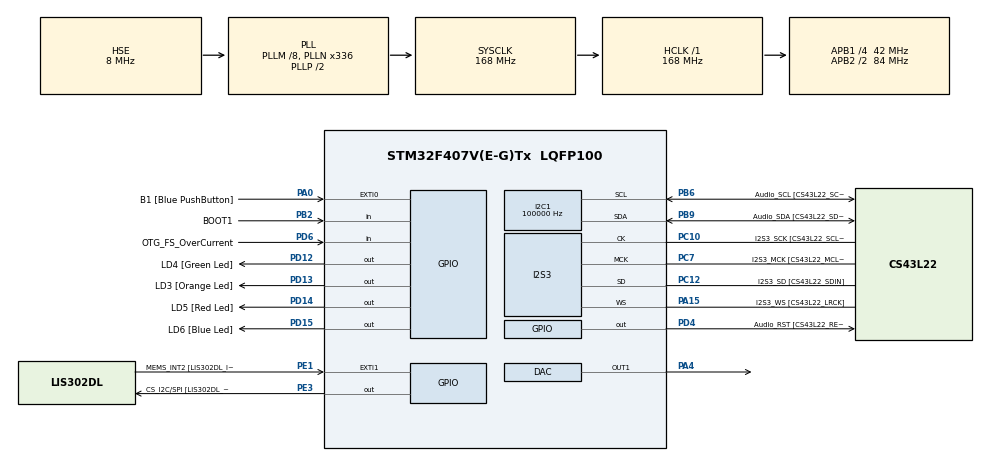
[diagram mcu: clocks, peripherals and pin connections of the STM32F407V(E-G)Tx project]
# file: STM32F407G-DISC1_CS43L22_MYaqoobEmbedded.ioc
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Dma.Request0=SPI3_TX
Dma.SPI3_TX.0.Direction=DMA_MEMORY_TO_PERIPH
Dma.SPI3_TX.0.FIFOMode=DMA_FIFOMODE_ENABLE
Dma.SPI3_TX.0.FIFOThreshold=DMA_FIFO_THRESHOLD_FULL
Dma.SPI3_TX.0.Instance=DMA1_Stream5
Dma.SPI3_TX.0.MemBurst=DMA_MBURST_SINGLE
Dma.SPI3_TX.0.MemDataAlignment=DMA_MDATAALIGN_HALFWORD
Dma.SPI3_TX.0.MemInc=DMA_MINC_ENABLE
Dma.SPI3_TX.0.Mode=DMA_CIRCULAR
Dma.SPI3_TX.0.PeriphBurst=DMA_PBURST_SINGLE
Dma.SPI3_TX.0.PeriphDataAlignment=DMA_PDATAALIGN_HALFWORD
Dma.SPI3_TX.0.PeriphInc=DMA_PINC_DISABLE
Dma.SPI3_TX.0.Priority=DMA_PRIORITY_LOW
I2C1.ClockSpeed=100000
I2C1.DualAddressMode=I2C_DUALADDRESS_DISABLE
I2C1.GeneralCallMode=I2C_GENERALCALL_DISABLE
I2C1.I2C_Mode=I2C_Standard
I2S3.AudioFreq=I2S_AUDIOFREQ_48K
I2S3.ErrorAudioFreq=1.72 %
I2S3.FullDuplexMode=I2S_FULLDUPLEXMODE_DISABLE
I2S3.Instance=SPI$Index
I2S3.RealAudioFreq=48.828 KHz
I2S3.VirtualMode=I2S_MODE_MASTER
Mcu.Family=STM32F4
Mcu.Name=STM32F407V(E-G)Tx
Mcu.Package=LQFP100
NVIC.DMA1_Stream5_IRQn=true\:0\:0\:false\:false\:true\:false\:false
NVIC.PriorityGroup=NVIC_PRIORITYGROUP_0
NVIC.TIM2_IRQn=true\:0\:0\:false\:false\:true\:true\:true
PA0-WKUP.GPIO_Label=B1 [Blue PushButton]
PA0-WKUP.GPIO_ModeDefaultEXTI=GPIO_MODE_EVT_RISING
PA0-WKUP.GPIO_PuPd=GPIO_NOPULL
PA0-WKUP.Signal=GPXTI0
PA13.GPIO_Label=SWDIO
PA13.Mode=Trace_Asynchronous_SW
PA13.Signal=SYS_JTMS-SWDIO
PA14.GPIO_Label=SWCLK
PA14.Mode=Trace_Asynchronous_SW
PA14.Signal=SYS_JTCK-SWCLK
PA15.GPIO_Label=I2S3_WS [CS43L22_LRCK]
PA15.GPIO_Mode=GPIO_MODE_AF_PP
PA15.GPIO_PuPd=GPIO_NOPULL
PA15.GPIO_Speed=GPIO_SPEED_FREQ_LOW
PA15.Mode=Half_Duplex_Master
PA15.Signal=I2S3_WS
PA4.Signal=COMP_DAC1_group
PB2.GPIO_Label=BOOT1
PB2.GPIO_Mode=GPIO_MODE_INPUT
PB2.GPIO_PuPd=GPIO_NOPULL
PB2.Signal=GPIO_Input
PB3.GPIO_Label=SWO
PB3.Mode=Trace_Asynchronous_SW
PB3.Signal=SYS_JTDO-SWO
PB6.GPIO_Label=Audio_SCL [CS43L22_SCL]
PB6.GPIO_Mode=GPIO_MODE_AF_OD
PB6.GPIO_PuPd=GPIO_NOPULL
PB6.GPIO_Speed=GPIO_SPEED_FREQ_LOW
PB6.Mode=I2C
PB6.Signal=I2C1_SCL
PB9.GPIO_Label=Audio_SDA [CS43L22_SDA]
PB9.GPIO_Mode=GPIO_MODE_AF_OD
PB9.GPIO_PuPd=GPIO_NOPULL
PB9.GPIO_Speed=GPIO_SPEED_FREQ_LOW
PB9.Mode=I2C
PB9.Signal=I2C1_SDA
PC10.GPIO_Label=I2S3_SCK [CS43L22_SCLK]
PC10.GPIO_Mode=GPIO_MODE_AF_PP
PC10.GPIO_PuPd=GPIO_NOPULL
PC10.GPIO_Speed=GPIO_SPEED_FREQ_LOW
PC10.Mode=Half_Duplex_Master
PC10.Signal=I2S3_CK
PC12.GPIO_Label=I2S3_SD [CS43L22_SDIN]
PC12.GPIO_Mode=GPIO_MODE_AF_PP
PC12.GPIO_PuPd=GPIO_NOPULL
PC12.GPIO_Speed=GPIO_SPEED_FREQ_LOW
PC12.Mode=Half_Duplex_Master
PC12.Signal=I2S3_SD
PC14-OSC32_IN.GPIO_Label=PC14-OSC32_IN
PC14-OSC32_IN.Mode=LSE-External-Oscillator
PC14-OSC32_IN.Signal=RCC_OSC32_IN
PC15-OSC32_OUT.GPIO_Label=PC15-OSC32_OUT
PC15-OSC32_OUT.Mode=LSE-External-Oscillator
PC15-OSC32_OUT.Signal=RCC_OSC32_OUT
PC7.GPIO_Label=I2S3_MCK [CS43L22_MCLK]
PC7.GPIO_Mode=GPIO_MODE_AF_PP
PC7.GPIO_PuPd=GPIO_NOPULL
PC7.GPIO_Speed=GPIO_SPEED_FREQ_LOW
PC7.Mode=Master_Clock_Activated
PC7.Signal=I2S3_MCK
PD12.GPIO_Label=LD4 [Green Led]
PD12.GPIO_PuPd=GPIO_NOPULL
PD12.GPIO_Speed=GPIO_SPEED_FREQ_LOW
PD12.Signal=GPIO_Output
PD13.GPIO_Label=LD3 [Orange Led]
PD13.GPIO_PuPd=GPIO_NOPULL
PD13.GPIO_Speed=GPIO_SPEED_FREQ_LOW
PD13.Signal=GPIO_Output
PD14.GPIO_Label=LD5 [Red Led]
PD14.GPIO_PuPd=GPIO_NOPULL
PD14.GPIO_Speed=GPIO_SPEED_FREQ_LOW
PD14.Signal=GPIO_Output
PD15.GPIO_Label=LD6 [Blue Led]
PD15.GPIO_PuPd=GPIO_NOPULL
PD15.GPIO_Speed=GPIO_SPEED_FREQ_LOW
PD15.Signal=GPIO_Output
PD4.GPIO_Label=Audio_RST [CS43L22_RESET]
PD4.GPIO_PuPd=GPIO_NOPULL
PD4.GPIO_Speed=GPIO_SPEED_FREQ_LOW
PD4.Signal=GPIO_Output
PD6.GPIO_Label=OTG_FS_OverCurrent
PD6.GPIO_Mode=GPIO_MODE_INPUT
PD6.GPIO_PuPd=GPIO_NOPULL
PD6.Signal=GPIO_Input
PE1.GPIO_Label=MEMS_INT2 [LIS302DL_INT2]
PE1.GPIO_ModeDefaultEXTI=GPIO_MODE_EVT_RISING
PE1.GPIO_PuPd=GPIO_NOPULL
PE1.Signal=GPXTI1
PE3.GPIO_Label=CS_I2C/SPI [LIS302DL_CS_I2C/SPI]
PE3.GPIO_PuPd=GPIO_NOPULL
PE3.GPIO_Speed=GPIO_SPEED_FREQ_LOW
PE3.Signal=GPIO_Output
PH0-OSC_IN.GPIO_Label=PH0-OSC_IN
PH0-OSC_IN.Mode=HSE-External-Oscillator
PH0-OSC_IN.Signal=RCC_OSC_IN
PH1-OSC_OUT.GPIO_Label=PH1-OSC_OUT
PH1-OSC_OUT.Mode=HSE-External-Oscillator
PH1-OSC_OUT.Signal=RCC_OSC_OUT
ProjectManager.HeapSize=0x200
ProjectManager.StackSize=0x400
ProjectManager.TargetToolchain=STM32CubeIDE
RCC.48MHZClocksFreq_Value=48000000
RCC.AHBFreq_Value=168000000
RCC.APB1CLKDivider=RCC_HCLK_DIV4
RCC.APB1Freq_Value=42000000
RCC.APB1TimFreq_Value=84000000
RCC.APB2CLKDivider=RCC_HCLK_DIV2
RCC.APB2Freq_Value=84000000
RCC.APB2TimFreq_Value=168000000
RCC.CortexFreq_Value=168000000
RCC.HCLKFreq_Value=168000000
RCC.HSE_VALUE=8000000
RCC.HSI_VALUE=16000000
RCC.PLLI2SN=300
RCC.PLLI2SR=6
RCC.PLLM=8
RCC.PLLN=336
RCC.PLLQ=7
RCC.PLLSourceVirtual=RCC_PLLSOURCE_HSE
RCC.SYSCLKFreq_VALUE=168000000
RCC.SYSCLKSource=RCC_SYSCLKSOURCE_PLLCLK
RCC.VCOOutputFreq_Value=336000000
SH.COMP_DAC1_group.0=DAC_OUT1,DAC_OUT1
TIM2.Period=20-1
TIM2.Prescaler=84-1
TIM2.TIM_MasterOutputTrigger=TIM_TRGO_UPDATE
VP_TIM2_VS_ClockSourceINT.Mode=Internal
board=STM32F407G-DISC1

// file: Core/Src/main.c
/* USER CODE BEGIN Header */
/**
  ******************************************************************************
  * @file           : main.c
  * @brief          : Main program body
  ******************************************************************************
  * @attention
  *
  * <h2><center>&copy; Copyright (c) 2021 STMicroelectronics.
  * All rights reserved.</center></h2>
  *
  * This software component is licensed by ST under Ultimate Liberty license
  * SLA0044, the "License"; You may not use this file except in compliance with
  * the License. You may obtain a copy of the License at:
  *                             www.st.com/SLA0044
  *
  ******************************************************************************
  */
/* USER CODE END Header */
#include "main.h"

/* USER CODE BEGIN Includes */
#include "MY_CS43L22.h"
#include <math.h>
/* USER CODE END Includes */

/* USER CODE BEGIN PD */
#define PI 			3.14159f

//Sample rate and Output freq
#define F_SAMPLE	48000.0f
#define F_OUT		1500.0f
/* USER CODE END PD */

DAC_HandleTypeDef hdac;

I2C_HandleTypeDef hi2c1;

I2S_HandleTypeDef hi2s3;
DMA_HandleTypeDef hdma_spi3_tx;

TIM_HandleTypeDef htim2;

/* USER CODE BEGIN PV */
float mySinVal;
float sample_dt;

uint16_t sample_N;
uint16_t i_t;

uint32_t myDacVal;

int16_t dataI2S[100];
/* USER CODE END PV */

void SystemClock_Config(void);
static void MX_GPIO_Init(void);
static void MX_DMA_Init(void);
static void MX_I2C1_Init(void);
static void MX_I2S3_Init(void);
static void MX_DAC_Init(void);
static void MX_TIM2_Init(void);

int main(void)
{

  /* MCU Configuration--------------------------------------------------------*/

  /* Reset of all peripherals, Initializes the Flash interface and the Systick. */
  HAL_Init();

  /* Configure the system clock */
  SystemClock_Config();

  /* Initialize all configured peripherals */
  MX_GPIO_Init();
  MX_DMA_Init();
  MX_I2C1_Init();
  MX_I2S3_Init();
  MX_DAC_Init();
  MX_TIM2_Init();
  /* USER CODE BEGIN 2 */

	CS43_Init(hi2c1, MODE_ANALOG);
	CS43_SetVolume(40); //0 - 100,, 40
	CS43_Enable_RightLeft(CS43_RIGHT_LEFT);
	CS43_Start();

	sample_dt = F_OUT/F_SAMPLE;
	sample_N = F_SAMPLE/F_OUT;

	//Build Sine wave
	for(uint16_t i=0; i<sample_N; i++)
	{
		mySinVal = sinf(i*2*PI*sample_dt);
		dataI2S[i*2] = (mySinVal )*8000;    //Right data (0 2 4 6 8 10 12)
		dataI2S[i*2 + 1] =(mySinVal )*8000; //Left data  (1 3 5 7 9 11 13)
	}

	HAL_I2S_Transmit_DMA(&hi2s3, (uint16_t *)dataI2S, sample_N*2);

	//Start DAC
	HAL_DAC_Start(&hdac, DAC_CHANNEL_1);

	//Start TIM2
	HAL_TIM_Base_Start_IT(&htim2);

  /* USER CODE END 2 */

  /* Infinite loop */
  while (1)
  {

  }
}

void SystemClock_Config(void)
{
  RCC_OscInitTypeDef RCC_OscInitStruct = {0};
  RCC_ClkInitTypeDef RCC_ClkInitStruct = {0};
  RCC_PeriphCLKInitTypeDef PeriphClkInitStruct = {0};

  /** Configure the main internal regulator output voltage
  */
  __HAL_RCC_PWR_CLK_ENABLE();
  __HAL_PWR_VOLTAGESCALING_CONFIG(PWR_REGULATOR_VOLTAGE_SCALE1);
  /** Initializes the RCC Oscillators according to the specified parameters
  * in the RCC_OscInitTypeDef structure.
  */
  RCC_OscInitStruct.OscillatorType = RCC_OSCILLATORTYPE_HSE;
  RCC_OscInitStruct.HSEState = RCC_HSE_ON;
  RCC_OscInitStruct.PLL.PLLState = RCC_PLL_ON;
  RCC_OscInitStruct.PLL.PLLSource = RCC_PLLSOURCE_HSE;
  RCC_OscInitStruct.PLL.PLLM = 8;
  RCC_OscInitStruct.PLL.PLLN = 336;
  RCC_OscInitStruct.PLL.PLLP = RCC_PLLP_DIV2;
  RCC_OscInitStruct.PLL.PLLQ = 7;
  if (HAL_RCC_OscConfig(&RCC_OscInitStruct) != HAL_OK)
  {
    Error_Handler();
  }
  /** Initializes the CPU, AHB and APB buses clocks
  */
  RCC_ClkInitStruct.ClockType = RCC_CLOCKTYPE_HCLK|RCC_CLOCKTYPE_SYSCLK
                              |RCC_CLOCKTYPE_PCLK1|RCC_CLOCKTYPE_PCLK2;
  RCC_ClkInitStruct.SYSCLKSource = RCC_SYSCLKSOURCE_PLLCLK;
  RCC_ClkInitStruct.AHBCLKDivider = RCC_SYSCLK_DIV1;
  RCC_ClkInitStruct.APB1CLKDivider = RCC_HCLK_DIV4;
  RCC_ClkInitStruct.APB2CLKDivider = RCC_HCLK_DIV2;

  if (HAL_RCC_ClockConfig(&RCC_ClkInitStruct, FLASH_LATENCY_5) != HAL_OK)
  {
    Error_Handler();
  }
  PeriphClkInitStruct.PeriphClockSelection = RCC_PERIPHCLK_I2S;
  PeriphClkInitStruct.PLLI2S.PLLI2SN = 300;
  PeriphClkInitStruct.PLLI2S.PLLI2SR = 6;
  if (HAL_RCCEx_PeriphCLKConfig(&PeriphClkInitStruct) != HAL_OK)
  {
    Error_Handler();
  }
}

static void MX_DAC_Init(void)
{

  DAC_ChannelConfTypeDef sConfig = {0};

  /** DAC Initialization
  */
  hdac.Instance = DAC;
  if (HAL_DAC_Init(&hdac) != HAL_OK)
  {
    Error_Handler();
  }
  /** DAC channel OUT1 config
  */
  sConfig.DAC_Trigger = DAC_TRIGGER_NONE;
  sConfig.DAC_OutputBuffer = DAC_OUTPUTBUFFER_ENABLE;
  if (HAL_DAC_ConfigChannel(&hdac, &sConfig, DAC_CHANNEL_1) != HAL_OK)
  {
    Error_Handler();
  }

}

static void MX_I2C1_Init(void)
{

  hi2c1.Instance = I2C1;
  hi2c1.Init.ClockSpeed = 100000;
  hi2c1.Init.DutyCycle = I2C_DUTYCYCLE_2;
  hi2c1.Init.OwnAddress1 = 0;
  hi2c1.Init.AddressingMode = I2C_ADDRESSINGMODE_7BIT;
  hi2c1.Init.DualAddressMode = I2C_DUALADDRESS_DISABLE;
  hi2c1.Init.OwnAddress2 = 0;
  hi2c1.Init.GeneralCallMode = I2C_GENERALCALL_DISABLE;
  hi2c1.Init.NoStretchMode = I2C_NOSTRETCH_DISABLE;
  if (HAL_I2C_Init(&hi2c1) != HAL_OK)
  {
    Error_Handler();
  }

}

static void MX_I2S3_Init(void)
{

  hi2s3.Instance = SPI3;
  hi2s3.Init.Mode = I2S_MODE_MASTER_TX;
  hi2s3.Init.Standard = I2S_STANDARD_PHILIPS;
  hi2s3.Init.DataFormat = I2S_DATAFORMAT_16B;
  hi2s3.Init.MCLKOutput = I2S_MCLKOUTPUT_ENABLE;
  hi2s3.Init.AudioFreq = I2S_AUDIOFREQ_48K;
  hi2s3.Init.CPOL = I2S_CPOL_LOW;
  hi2s3.Init.ClockSource = I2S_CLOCK_PLL;
  hi2s3.Init.FullDuplexMode = I2S_FULLDUPLEXMODE_DISABLE;
  if (HAL_I2S_Init(&hi2s3) != HAL_OK)
  {
    Error_Handler();
  }

}

static void MX_TIM2_Init(void)
{

  TIM_ClockConfigTypeDef sClockSourceConfig = {0};
  TIM_MasterConfigTypeDef sMasterConfig = {0};

  htim2.Instance = TIM2;
  htim2.Init.Prescaler = 84-1;
  htim2.Init.CounterMode = TIM_COUNTERMODE_UP;
  htim2.Init.Period = 20-1;
  htim2.Init.ClockDivision = TIM_CLOCKDIVISION_DIV1;
  htim2.Init.AutoReloadPreload = TIM_AUTORELOAD_PRELOAD_DISABLE;
  if (HAL_TIM_Base_Init(&htim2) != HAL_OK)
  {
    Error_Handler();
  }
  sClockSourceConfig.ClockSource = TIM_CLOCKSOURCE_INTERNAL;
  if (HAL_TIM_ConfigClockSource(&htim2, &sClockSourceConfig) != HAL_OK)
  {
    Error_Handler();
  }
  sMasterConfig.MasterOutputTrigger = TIM_TRGO_UPDATE;
  sMasterConfig.MasterSlaveMode = TIM_MASTERSLAVEMODE_DISABLE;
  if (HAL_TIMEx_MasterConfigSynchronization(&htim2, &sMasterConfig) != HAL_OK)
  {
    Error_Handler();
  }

}

static void MX_DMA_Init(void)
{

  /* DMA controller clock enable */
  __HAL_RCC_DMA1_CLK_ENABLE();

  /* DMA interrupt init */
  /* DMA1_Stream5_IRQn interrupt configuration */
  HAL_NVIC_SetPriority(DMA1_Stream5_IRQn, 0, 0);
  HAL_NVIC_EnableIRQ(DMA1_Stream5_IRQn);

}

static void MX_GPIO_Init(void)
{
  GPIO_InitTypeDef GPIO_InitStruct = {0};

  /* GPIO Ports Clock Enable */
  __HAL_RCC_GPIOE_CLK_ENABLE();
  __HAL_RCC_GPIOC_CLK_ENABLE();
  __HAL_RCC_GPIOH_CLK_ENABLE();
  __HAL_RCC_GPIOA_CLK_ENABLE();
  __HAL_RCC_GPIOB_CLK_ENABLE();
  __HAL_RCC_GPIOD_CLK_ENABLE();

  /*Configure GPIO pin Output Level */
  HAL_GPIO_WritePin(CS_I2C_SPI_GPIO_Port, CS_I2C_SPI_Pin, GPIO_PIN_RESET);

  /*Configure GPIO pin Output Level */
  HAL_GPIO_WritePin(GPIOD, LD4_Pin|LD3_Pin|LD5_Pin|LD6_Pin
                          |Audio_RST_Pin, GPIO_PIN_RESET);

  /*Configure GPIO pin : CS_I2C_SPI_Pin */
  GPIO_InitStruct.Pin = CS_I2C_SPI_Pin;
  GPIO_InitStruct.Mode = GPIO_MODE_OUTPUT_PP;
  GPIO_InitStruct.Pull = GPIO_NOPULL;
  GPIO_InitStruct.Speed = GPIO_SPEED_FREQ_LOW;
  HAL_GPIO_Init(CS_I2C_SPI_GPIO_Port, &GPIO_InitStruct);

  /*Configure GPIO pin : B1_Pin */
  GPIO_InitStruct.Pin = B1_Pin;
  GPIO_InitStruct.Mode = GPIO_MODE_EVT_RISING;
  GPIO_InitStruct.Pull = GPIO_NOPULL;
  HAL_GPIO_Init(B1_GPIO_Port, &GPIO_InitStruct);

  /*Configure GPIO pin : BOOT1_Pin */
  GPIO_InitStruct.Pin = BOOT1_Pin;
  GPIO_InitStruct.Mode = GPIO_MODE_INPUT;
  GPIO_InitStruct.Pull = GPIO_NOPULL;
  HAL_GPIO_Init(BOOT1_GPIO_Port, &GPIO_InitStruct);

  /*Configure GPIO pins : LD4_Pin LD3_Pin LD5_Pin LD6_Pin
                           Audio_RST_Pin */
  GPIO_InitStruct.Pin = LD4_Pin|LD3_Pin|LD5_Pin|LD6_Pin
                          |Audio_RST_Pin;
  GPIO_InitStruct.Mode = GPIO_MODE_OUTPUT_PP;
  GPIO_InitStruct.Pull = GPIO_NOPULL;
  GPIO_InitStruct.Speed = GPIO_SPEED_FREQ_LOW;
  HAL_GPIO_Init(GPIOD, &GPIO_InitStruct);

  /*Configure GPIO pin : OTG_FS_OverCurrent_Pin */
  GPIO_InitStruct.Pin = OTG_FS_OverCurrent_Pin;
  GPIO_InitStruct.Mode = GPIO_MODE_INPUT;
  GPIO_InitStruct.Pull = GPIO_NOPULL;
  HAL_GPIO_Init(OTG_FS_OverCurrent_GPIO_Port, &GPIO_InitStruct);

  /*Configure GPIO pin : MEMS_INT2_Pin */
  GPIO_InitStruct.Pin = MEMS_INT2_Pin;
  GPIO_InitStruct.Mode = GPIO_MODE_EVT_RISING;
  GPIO_InitStruct.Pull = GPIO_NOPULL;
  HAL_GPIO_Init(MEMS_INT2_GPIO_Port, &GPIO_InitStruct);

}

/* USER CODE BEGIN 4 */

void HAL_TIM_PeriodElapsedCallback(TIM_HandleTypeDef *htim)
{
  /* Prevent unused argument(s) compilation warning */
  UNUSED(htim);
  /* NOTE : This function Should not be modified, when the callback is needed,
            the __HAL_TIM_PeriodElapsedCallback could be implemented in the user file
   */

	if(htim->Instance == TIM2)
	{
		mySinVal = sinf(i_t * 2 * PI * sample_dt);
		//Convert from float to decimal
		myDacVal = (mySinVal + 1)*127;
		//Output the sample to the STM DAC
		HAL_DAC_SetValue(&hdac, DAC_CHANNEL_1, DAC_ALIGN_8B_R, myDacVal);

		i_t++;
		if(i_t>= sample_N) i_t = 0;
	}

}

/* USER CODE END 4 */

void Error_Handler(void)
{
  __disable_irq();
  while (1)
  {
  }
}

/************************ (C) COPYRIGHT STMicroelectronics *****END OF FILE****/
